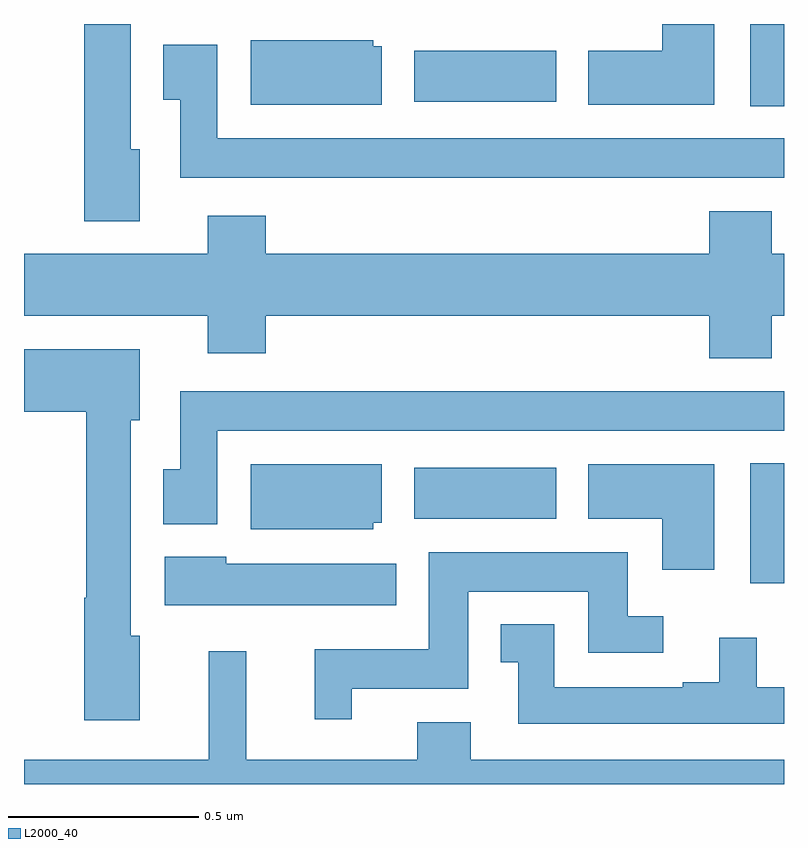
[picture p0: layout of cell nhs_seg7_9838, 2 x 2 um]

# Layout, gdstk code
import gdstk
lib = gdstk.Library(unit=1e-6, precision=1e-09)
def R(c, l, rs):  # rectangles x0, y0, x1, y1
    for r in rs: c.add(gdstk.rectangle(r[:2], r[2:], *l))
def P(c, l, *ps):  # polygons
    for p in ps: c.add(gdstk.Polygon(p, *l))
L2000_40 = (2000, 40)

nhs_seg7_9838 = lib.new_cell('nhs_seg7_9838')
R(nhs_seg7_9838, L2000_40, [(243.911,1050.528,244,1050.844), (243.027,1050.698,243.4,1050.832), (243.911,1051.784,244,1052), (243.027,1051.796,243.4,1051.93)])
P(nhs_seg7_9838, L2000_40, [(243.817,1052),(243.68,1052),(243.68,1051.93),(243.485,1051.93),(243.485,1051.787),(243.817,1051.787)],
  [(242.305,1051.671),(242.281,1051.671),(242.281,1052),(242.159,1052),(242.159,1051.481),(242.305,1051.481)],
  [(242.941,1051.941),(242.919,1051.941),(242.919,1051.957),(242.597,1051.957),(242.597,1051.787),(242.941,1051.787)],
  [(244,1051.699),(242.508,1051.699),(242.508,1051.945),(242.366,1051.945),(242.366,1051.801),(242.411,1051.801),(242.411,1051.595),(244,1051.595)],
  [(243.968,1051.232),(244,1051.232),(244,1051.396),(243.968,1051.396),(243.968,1051.507),(243.803,1051.507),(243.803,1051.396),(242.636,1051.396),(242.636,1051.495),(242.483,1051.495),(242.483,1051.396),(242,1051.396),(242,1051.232),(242.483,1051.232),(242.483,1051.133),(242.636,1051.133),(242.636,1051.232),(243.803,1051.232),(243.803,1051.121),(243.968,1051.121)],
  [(242.305,1050.39),(242.281,1050.39),(242.281,1050.957),(242.305,1050.957),(242.305,1051.144),(242,1051.144),(242,1050.979),(242.164,1050.979),(242.164,1050.49),(242.159,1050.49),(242.159,1050.168),(242.305,1050.168)],
  [(242.508,1050.929),(244,1050.929),(244,1051.033),(242.411,1051.033),(242.411,1050.828),(242.366,1050.828),(242.366,1050.684),(242.508,1050.684)],
  [(243.817,1050.841),(243.485,1050.841),(243.485,1050.698),(243.68,1050.698),(243.68,1050.564),(243.817,1050.564)],
  [(242.919,1050.687),(242.941,1050.687),(242.941,1050.841),(242.597,1050.841),(242.597,1050.671),(242.919,1050.671)],
  [(242.863,1050.251),(243.169,1050.251),(243.169,1050.506),(243.485,1050.506),(243.485,1050.345),(243.682,1050.345),(243.682,1050.441),(243.589,1050.441),(243.589,1050.61),(243.065,1050.61),(243.065,1050.355),(242.765,1050.355),(242.765,1050.171),(242.863,1050.171)],
  [(242.98,1050.58),(242.532,1050.58),(242.532,1050.598),(242.37,1050.598),(242.37,1050.47),(242.98,1050.47)],
  [(244,1050.255),(243.928,1050.255),(243.928,1050.385),(243.83,1050.385),(243.83,1050.268),(243.734,1050.268),(243.734,1050.255),(243.396,1050.255),(243.396,1050.421),(243.254,1050.421),(243.254,1050.321),(243.3,1050.321),(243.3,1050.159),(244,1050.159)],
  [(244,1050.064),(243.175,1050.064),(243.175,1050.163),(243.035,1050.163),(243.035,1050.064),(242.585,1050.064),(242.585,1050.349),(242.486,1050.349),(242.486,1050.064),(242,1050.064),(242,1050),(244,1050)])

lib.write_gds('nhs_seg7_9838.gds')
